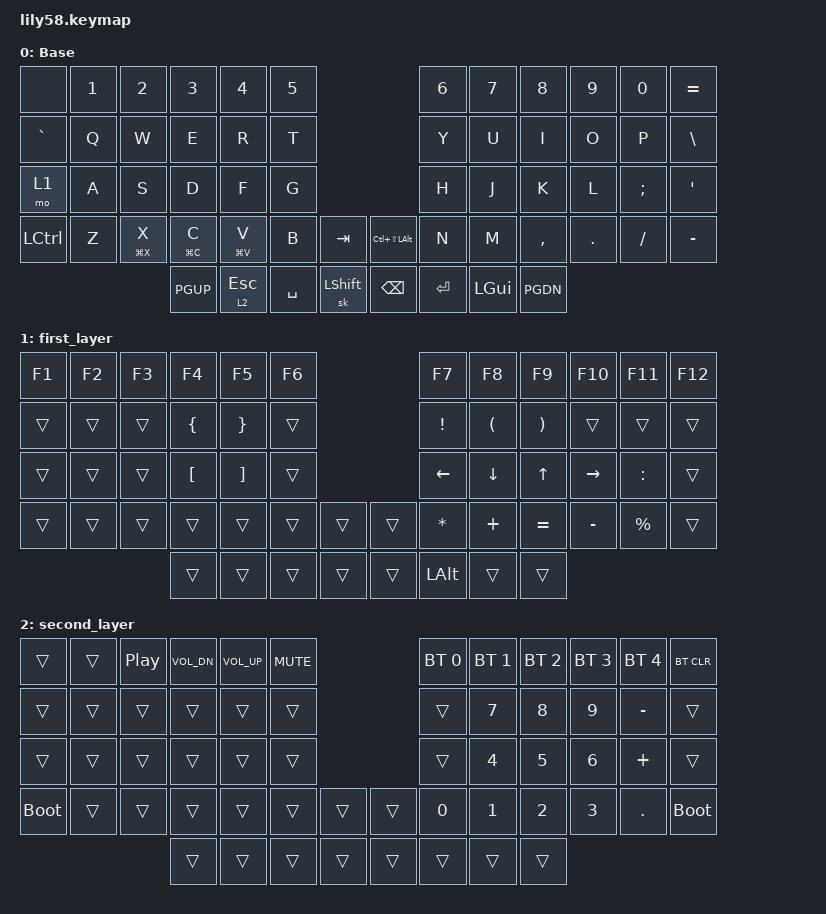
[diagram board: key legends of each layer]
/*
 * Copyright (c) 2020 The ZMK Contributors
 *
 * SPDX-License-Identifier: MIT
 */

#include <behaviors.dtsi>
#include <dt-bindings/zmk/keys.h>
#include <dt-bindings/zmk/bt.h>
#include <dt-bindings/zmk/ext_power.h>

&mt {
    flavor = "tap-preferred";
    tapping_term_ms = <200>;
    quick_tap_ms = <200>;
};

&lt {
    tapping_term_ms = <200>;
};

/ {
    keymap {
        compatible = "zmk,keymap";
        default_layer {
            label = "Base"; 
            bindings = <
&none      &kp N1  &kp N2       &kp N3       &kp N4        &kp N5                                    &kp N6   &kp N7    &kp N8     &kp N9    &kp N0    &kp EQUAL
&kp GRAVE  &kp Q   &kp W        &kp E        &kp R         &kp T                                     &kp Y    &kp U     &kp I      &kp O     &kp P     &kp BSLH
&mo 1      &kp A   &kp S        &kp D        &kp F         &kp G                                     &kp H    &kp J     &kp K      &kp L     &kp SEMI  &kp SQT
&kp LCTRL  &kp Z   &mt LG(X) X  &mt LG(C) C  &mt LG(V)  V  &kp B      &kp TAB      &kp LC(LS(LALT))  &kp N    &kp M     &kp COMMA  &kp DOT   &kp FSLH  &kp MINUS
                                &kp PGUP     &lt 2 ESC     &kp SPACE  &sk LSHFT    &kp BSPC          &kp RET  &kp LGUI  &kp PGDN
            >;
        };

        first_layer {
            bindings = <
&kp F1  &kp F2  &kp F3  &kp F4    &kp F5    &kp F6                            &kp F7    &kp F8    &kp F9     &kp F10    &kp F11    &kp F12
&trans  &trans  &trans  &kp LBRC  &kp RBRC  &trans                            &kp EXCL  &kp LPAR  &kp RPAR   &trans     &trans     &trans
&trans  &trans  &trans  &kp LBKT  &kp RBKT  &trans                            &kp LEFT  &kp DOWN  &kp UP     &kp RIGHT  &kp COLON  &trans
&trans  &trans  &trans  &trans    &trans    &trans  &trans          &trans    &kp STAR  &kp PLUS  &kp EQUAL  &kp MINUS  &kp PRCNT  &trans
                        &trans    &trans    &trans  &trans          &trans    &kp LALT    &trans    &trans
            >;
        };

        second_layer {
            bindings = <
&trans      &trans &kp C_PP  &kp C_VOL_DN  &kp C_VOL_UP  &kp K_MUTE                      &bt BT_SEL 0  &bt BT_SEL 1  &bt BT_SEL 2  &bt BT_SEL 3  &bt BT_SEL 4  &bt BT_CLR
&trans      &trans &trans    &trans        &trans        &trans                          &trans        &kp N7        &kp N8        &kp N9        &kp MINUS     &trans
&trans      &trans &trans    &trans        &trans        &trans                          &trans        &kp N4        &kp N5        &kp N6        &kp PLUS       &trans
&bootloader &trans &trans    &trans        &trans        &trans      &trans      &trans  &kp N0        &kp N1        &kp N2        &kp N3        &kp DOT      &bootloader
                             &trans        &trans        &trans      &trans      &trans  &trans        &trans        &trans
            >;
        };
    };
};
